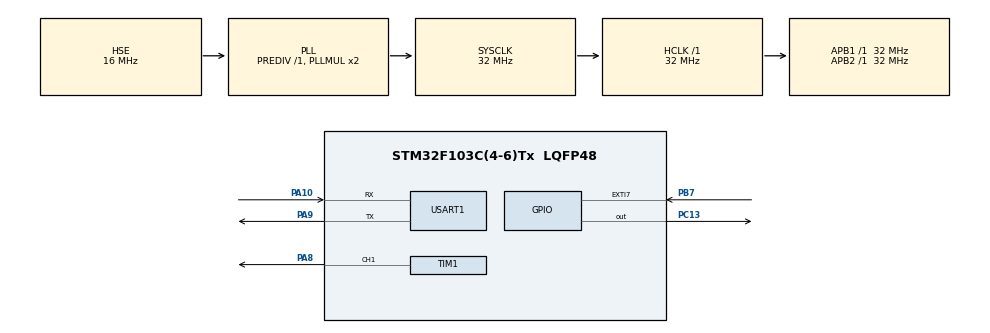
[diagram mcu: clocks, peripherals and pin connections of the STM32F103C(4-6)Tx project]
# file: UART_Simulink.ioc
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Mcu.Family=STM32F1
Mcu.Name=STM32F103C(4-6)Tx
Mcu.Package=LQFP48
NVIC.PriorityGroup=NVIC_PRIORITYGROUP_4
NVIC.TIM2_IRQn=true\:0\:0\:false\:false\:true\:true\:true\:true
NVIC.USART1_IRQn=true\:0\:0\:false\:false\:true\:true\:true\:true
PA10.Mode=Asynchronous
PA10.Signal=USART1_RX
PA8.Signal=S_TIM1_CH1
PA9.Mode=Asynchronous
PA9.Signal=USART1_TX
PB7.GPIO_ModeDefaultEXTI=GPIO_MODE_EVT_RISING_FALLING
PB7.GPIO_PuPd=GPIO_NOPULL
PB7.Signal=GPXTI7
PC13-TAMPER-RTC.Signal=GPIO_Output
PD0-OSC_IN.Mode=HSE-External-Oscillator
PD0-OSC_IN.Signal=RCC_OSC_IN
PD1-OSC_OUT.Mode=HSE-External-Oscillator
PD1-OSC_OUT.Signal=RCC_OSC_OUT
ProjectManager.HeapSize=0x200
ProjectManager.StackSize=0x400
ProjectManager.TargetToolchain=STM32CubeIDE
RCC.AHBFreq_Value=32000000
RCC.APB1Freq_Value=32000000
RCC.APB1TimFreq_Value=32000000
RCC.APB2Freq_Value=32000000
RCC.APB2TimFreq_Value=32000000
RCC.HCLKFreq_Value=32000000
RCC.HSE_VALUE=16000000
RCC.PLLSourceVirtual=RCC_PLLSOURCE_HSE
RCC.SYSCLKFreq_VALUE=32000000
RCC.SYSCLKSource=RCC_SYSCLKSOURCE_PLLCLK
RCC.USBFreq_Value=32000000
SH.S_TIM1_CH1.0=TIM1_CH1,PWM Generation1 CH1
TIM1.Channel-PWM\ Generation1\ CH1=TIM_CHANNEL_1
TIM1.Period=19999
TIM1.Prescaler=32
TIM2.Period=99
TIM2.Prescaler=32000
USART1.VirtualMode=VM_ASYNC
VP_SYS_VS_ND.Mode=No_Debug
VP_TIM1_VS_ClockSourceINT.Mode=Internal
VP_TIM2_VS_ClockSourceINT.Mode=Internal
board=custom

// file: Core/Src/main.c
/* USER CODE BEGIN Header */
/**
  ******************************************************************************
  * @file           : main.c
  * @brief          : Main program body
  ******************************************************************************
  * @attention
  *
  * Copyright (c) 2024 STMicroelectronics.
  * All rights reserved.
  *
  * This software is licensed under terms that can be found in the LICENSE file
  * in the root directory of this software component.
  * If no LICENSE file comes with this software, it is provided AS-IS.
  *
  ******************************************************************************
  */
/* USER CODE END Header */
#include "main.h"

/* USER CODE BEGIN Includes */
#include <stdint.h>
/* USER CODE END Includes */

TIM_HandleTypeDef htim1;
TIM_HandleTypeDef htim2;

UART_HandleTypeDef huart1;

/* USER CODE BEGIN PV */
volatile uint8_t u1_button = 0;
uint8_t u1_buff[2];
/* USER CODE END PV */

void SystemClock_Config(void);
static void MX_GPIO_Init(void);
static void MX_TIM2_Init(void);
static void MX_USART1_UART_Init(void);
static void MX_TIM1_Init(void);

int main(void)
{

  /* MCU Configuration--------------------------------------------------------*/

  /* Reset of all peripherals, Initializes the Flash interface and the Systick. */
  HAL_Init();

  /* Configure the system clock */
  SystemClock_Config();

  /* Initialize all configured peripherals */
  MX_GPIO_Init();
  MX_TIM2_Init();
  MX_USART1_UART_Init();
  MX_TIM1_Init();
  /* USER CODE BEGIN 2 */
  // Start Timer Interrupt
  HAL_TIM_Base_Start_IT(&htim2);
  // Start UART Receive Interrupt
  HAL_UART_Receive_IT(&huart1, u1_buff, 2);
  // Start PWM Interrupt for motor control
  HAL_TIM_PWM_Start(&htim1, TIM_CHANNEL_1);
  // Counter for PWM Signal, 199 = 20 ms
  uint16_t u2_PwmCounter = 1500;
  /* USER CODE END 2 */

  /* Infinite loop */
  while (1)
  {

    /* USER CODE BEGIN 3 */
	  if (u2_PwmCounter < 2200){
		  u2_PwmCounter ++;
	  }
	  else{
		  u2_PwmCounter = 800;
	  }
	  TIM1->CCR1 = u2_PwmCounter;
	 HAL_Delay(1);

  }
  /* USER CODE END 3 */
}

void SystemClock_Config(void)
{
  RCC_OscInitTypeDef RCC_OscInitStruct = {0};
  RCC_ClkInitTypeDef RCC_ClkInitStruct = {0};

  /** Initializes the RCC Oscillators according to the specified parameters
  * in the RCC_OscInitTypeDef structure.
  */
  RCC_OscInitStruct.OscillatorType = RCC_OSCILLATORTYPE_HSE;
  RCC_OscInitStruct.HSEState = RCC_HSE_ON;
  RCC_OscInitStruct.HSEPredivValue = RCC_HSE_PREDIV_DIV1;
  RCC_OscInitStruct.HSIState = RCC_HSI_ON;
  RCC_OscInitStruct.PLL.PLLState = RCC_PLL_ON;
  RCC_OscInitStruct.PLL.PLLSource = RCC_PLLSOURCE_HSE;
  RCC_OscInitStruct.PLL.PLLMUL = RCC_PLL_MUL2;
  if (HAL_RCC_OscConfig(&RCC_OscInitStruct) != HAL_OK)
  {
    Error_Handler();
  }

  /** Initializes the CPU, AHB and APB buses clocks
  */
  RCC_ClkInitStruct.ClockType = RCC_CLOCKTYPE_HCLK|RCC_CLOCKTYPE_SYSCLK
                              |RCC_CLOCKTYPE_PCLK1|RCC_CLOCKTYPE_PCLK2;
  RCC_ClkInitStruct.SYSCLKSource = RCC_SYSCLKSOURCE_PLLCLK;
  RCC_ClkInitStruct.AHBCLKDivider = RCC_SYSCLK_DIV1;
  RCC_ClkInitStruct.APB1CLKDivider = RCC_HCLK_DIV1;
  RCC_ClkInitStruct.APB2CLKDivider = RCC_HCLK_DIV1;

  if (HAL_RCC_ClockConfig(&RCC_ClkInitStruct, FLASH_LATENCY_1) != HAL_OK)
  {
    Error_Handler();
  }
}

static void MX_TIM1_Init(void)
{

  TIM_ClockConfigTypeDef sClockSourceConfig = {0};
  TIM_MasterConfigTypeDef sMasterConfig = {0};
  TIM_OC_InitTypeDef sConfigOC = {0};
  TIM_BreakDeadTimeConfigTypeDef sBreakDeadTimeConfig = {0};

  htim1.Instance = TIM1;
  htim1.Init.Prescaler = 32;
  htim1.Init.CounterMode = TIM_COUNTERMODE_UP;
  htim1.Init.Period = 19999;
  htim1.Init.ClockDivision = TIM_CLOCKDIVISION_DIV1;
  htim1.Init.RepetitionCounter = 0;
  htim1.Init.AutoReloadPreload = TIM_AUTORELOAD_PRELOAD_DISABLE;
  if (HAL_TIM_Base_Init(&htim1) != HAL_OK)
  {
    Error_Handler();
  }
  sClockSourceConfig.ClockSource = TIM_CLOCKSOURCE_INTERNAL;
  if (HAL_TIM_ConfigClockSource(&htim1, &sClockSourceConfig) != HAL_OK)
  {
    Error_Handler();
  }
  if (HAL_TIM_PWM_Init(&htim1) != HAL_OK)
  {
    Error_Handler();
  }
  sMasterConfig.MasterOutputTrigger = TIM_TRGO_RESET;
  sMasterConfig.MasterSlaveMode = TIM_MASTERSLAVEMODE_DISABLE;
  if (HAL_TIMEx_MasterConfigSynchronization(&htim1, &sMasterConfig) != HAL_OK)
  {
    Error_Handler();
  }
  sConfigOC.OCMode = TIM_OCMODE_PWM1;
  sConfigOC.Pulse = 0;
  sConfigOC.OCPolarity = TIM_OCPOLARITY_HIGH;
  sConfigOC.OCNPolarity = TIM_OCNPOLARITY_HIGH;
  sConfigOC.OCFastMode = TIM_OCFAST_DISABLE;
  sConfigOC.OCIdleState = TIM_OCIDLESTATE_RESET;
  sConfigOC.OCNIdleState = TIM_OCNIDLESTATE_RESET;
  if (HAL_TIM_PWM_ConfigChannel(&htim1, &sConfigOC, TIM_CHANNEL_1) != HAL_OK)
  {
    Error_Handler();
  }
  sBreakDeadTimeConfig.OffStateRunMode = TIM_OSSR_DISABLE;
  sBreakDeadTimeConfig.OffStateIDLEMode = TIM_OSSI_DISABLE;
  sBreakDeadTimeConfig.LockLevel = TIM_LOCKLEVEL_OFF;
  sBreakDeadTimeConfig.DeadTime = 0;
  sBreakDeadTimeConfig.BreakState = TIM_BREAK_DISABLE;
  sBreakDeadTimeConfig.BreakPolarity = TIM_BREAKPOLARITY_HIGH;
  sBreakDeadTimeConfig.AutomaticOutput = TIM_AUTOMATICOUTPUT_DISABLE;
  if (HAL_TIMEx_ConfigBreakDeadTime(&htim1, &sBreakDeadTimeConfig) != HAL_OK)
  {
    Error_Handler();
  }
  HAL_TIM_MspPostInit(&htim1);

}

static void MX_TIM2_Init(void)
{

  TIM_ClockConfigTypeDef sClockSourceConfig = {0};
  TIM_MasterConfigTypeDef sMasterConfig = {0};

  htim2.Instance = TIM2;
  htim2.Init.Prescaler = 32000;
  htim2.Init.CounterMode = TIM_COUNTERMODE_UP;
  htim2.Init.Period = 99;
  htim2.Init.ClockDivision = TIM_CLOCKDIVISION_DIV1;
  htim2.Init.AutoReloadPreload = TIM_AUTORELOAD_PRELOAD_DISABLE;
  if (HAL_TIM_Base_Init(&htim2) != HAL_OK)
  {
    Error_Handler();
  }
  sClockSourceConfig.ClockSource = TIM_CLOCKSOURCE_INTERNAL;
  if (HAL_TIM_ConfigClockSource(&htim2, &sClockSourceConfig) != HAL_OK)
  {
    Error_Handler();
  }
  sMasterConfig.MasterOutputTrigger = TIM_TRGO_RESET;
  sMasterConfig.MasterSlaveMode = TIM_MASTERSLAVEMODE_DISABLE;
  if (HAL_TIMEx_MasterConfigSynchronization(&htim2, &sMasterConfig) != HAL_OK)
  {
    Error_Handler();
  }

}

static void MX_USART1_UART_Init(void)
{

  huart1.Instance = USART1;
  huart1.Init.BaudRate = 115200;
  huart1.Init.WordLength = UART_WORDLENGTH_8B;
  huart1.Init.StopBits = UART_STOPBITS_1;
  huart1.Init.Parity = UART_PARITY_NONE;
  huart1.Init.Mode = UART_MODE_TX_RX;
  huart1.Init.HwFlowCtl = UART_HWCONTROL_NONE;
  huart1.Init.OverSampling = UART_OVERSAMPLING_16;
  if (HAL_UART_Init(&huart1) != HAL_OK)
  {
    Error_Handler();
  }

}

static void MX_GPIO_Init(void)
{
  GPIO_InitTypeDef GPIO_InitStruct = {0};

  /* GPIO Ports Clock Enable */
  __HAL_RCC_GPIOC_CLK_ENABLE();
  __HAL_RCC_GPIOD_CLK_ENABLE();
  __HAL_RCC_GPIOA_CLK_ENABLE();
  __HAL_RCC_GPIOB_CLK_ENABLE();

  /*Configure GPIO pin Output Level */
  HAL_GPIO_WritePin(GPIOC, GPIO_PIN_13, GPIO_PIN_RESET);

  /*Configure GPIO pin : PC13 */
  GPIO_InitStruct.Pin = GPIO_PIN_13;
  GPIO_InitStruct.Mode = GPIO_MODE_OUTPUT_PP;
  GPIO_InitStruct.Pull = GPIO_NOPULL;
  GPIO_InitStruct.Speed = GPIO_SPEED_FREQ_LOW;
  HAL_GPIO_Init(GPIOC, &GPIO_InitStruct);

  /*Configure GPIO pin : PB7 */
  GPIO_InitStruct.Pin = GPIO_PIN_7;
  GPIO_InitStruct.Mode = GPIO_MODE_EVT_RISING_FALLING;
  GPIO_InitStruct.Pull = GPIO_NOPULL;
  HAL_GPIO_Init(GPIOB, &GPIO_InitStruct);

}

/* USER CODE BEGIN 4 */
// ISR Timer
void HAL_TIM_PeriodElapsedCallback(TIM_HandleTypeDef *htim2){
	// Write button value to variable
	uint8_t u1_buf = u1_button;
	//  HAL_GPIO_TogglePin(GPIOC, GPIO_PIN_13);
	// Transmit data every 100 ms to Simulink
	HAL_UART_Transmit(&huart1, &u1_buf, 1, 10);
}

// ISR button press
void HAL_GPIO_EXTI_Callback(uint16_t GPIO_Pin){
	// set u1_button to one if pin is active
	if(HAL_GPIO_ReadPin (GPIOB, GPIO_PIN_7)){
		u1_button = 1;
		HAL_GPIO_WritePin(GPIOC, GPIO_PIN_13, GPIO_PIN_SET);
	}
	else{
		u1_button = 0;
		HAL_GPIO_WritePin(GPIOC, GPIO_PIN_13, GPIO_PIN_RESET);
	}
}

// ISR receive data from Simulink
void HAL_UART_RxCpltCallback(UART_HandleTypeDef *huart){
	// Write received data in u1_buff
	HAL_UART_Receive_IT(&huart, u1_buff, 2);

	// Put received values into int16:
	// set up union for having two variables of different data types using the same space
	union i2_union {
		int16_t i2_data;
		uint8_t u1_data[2];
	}receiveUnion;

	// Write the received value in the uint8 variables
	receiveUnion.u1_data[0] = u1_buff[0];
	receiveUnion.u1_data[1] = u1_buff[1];

	// to read the transmitted value use:
	// receiveUnion.i2_data

	// Turn On/Off DevCard "myLED"
	// HAL_GPIO_WritePin(GPIOC, GPIO_PIN_13, GPIO_PIN_SET);
	// HAL_GPIO_WritePin(GPIOC, GPIO_PIN_13, GPIO_PIN_SET);
}

/* USER CODE END 4 */

void Error_Handler(void)
{
  __disable_irq();
  while (1)
  {
  }
}
